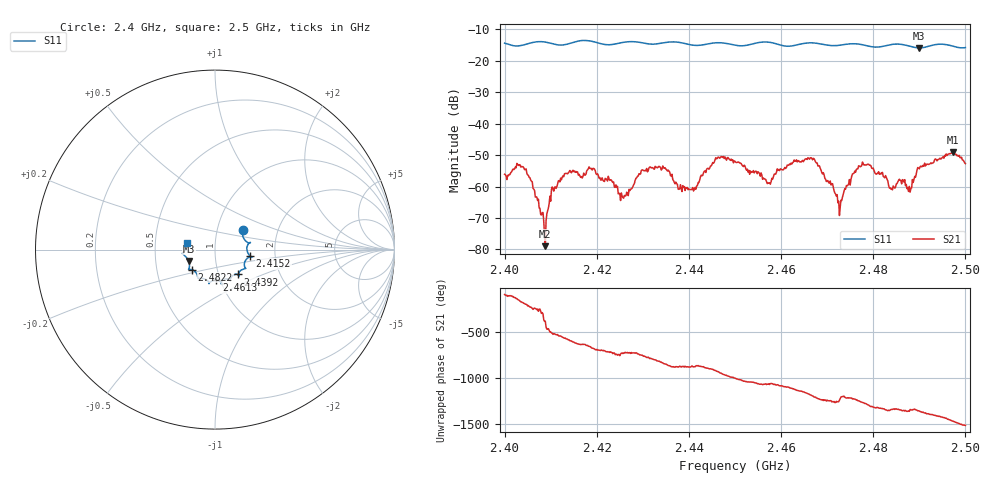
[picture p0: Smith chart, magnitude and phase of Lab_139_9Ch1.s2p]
# Hz S RI R 50
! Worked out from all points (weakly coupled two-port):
!   601 points, 2.4 GHz to 2.5 GHz, reference 50 ohm
!   highest |S21| = -49.14 dB at 2.4973 GHz (marker M1); lowest = -79.0 dB at 2.4088 GHz (marker M2)
!   lowest |S11| = -15.9 dB at 2.49 GHz (marker M3), VSWR 1.38, Z = 36.9 - j4.84 ohm
!   |S11| at or under -10 dB: start of sweep to end of sweep
!   S12 and S22 are empty: the file has one direction only
!   S11 on the Smith chart (normalised r, x): 2.4 GHz: 1.33, +0.30; 2.4152 GHz: 1.48, -0.11; 2.4392 GHz: 1.23, -0.35; 2.4613 GHz: 0.96, -0.34; 2.4822 GHz: 0.76, -0.17; 2.5 GHz: 0.73, +0.05
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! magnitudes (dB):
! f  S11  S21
! 2.4 GHz  -14.4  -56.1
! 2.4042 GHz  -14.9  -54.1
! 2.4088 GHz  -14.1  -79.0
! 2.4107 GHz  -14.7  -61.5
! 2.4152 GHz  -14.0  -55.1
! 2.4167 GHz  -13.6  -56.8
! 2.4257 GHz  -14.2  -63.5
! 2.4333 GHz  -14.6  -53.8
! 2.4392 GHz  -14.5  -61.3
! 2.4462 GHz  -14.3  -51.0
! 2.45 GHz  -15.0  -52.0
! 2.4573 GHz  -14.1  -58.9
! 2.4613 GHz  -15.4  -53.2
! 2.4667 GHz  -14.3  -51.0
! 2.4728 GHz  -15.0  -66.5
! 2.4773 GHz  -14.8  -53.6
! 2.4822 GHz  -15.4  -56.7
! 2.4833 GHz  -15.0  -59.7
! 2.4878 GHz  -15.3  -60.0
! 2.49 GHz  -15.9  -54.4
! 2.4973 GHz  -15.4  -49.1
! 2.5 GHz  -15.8  -52.7
